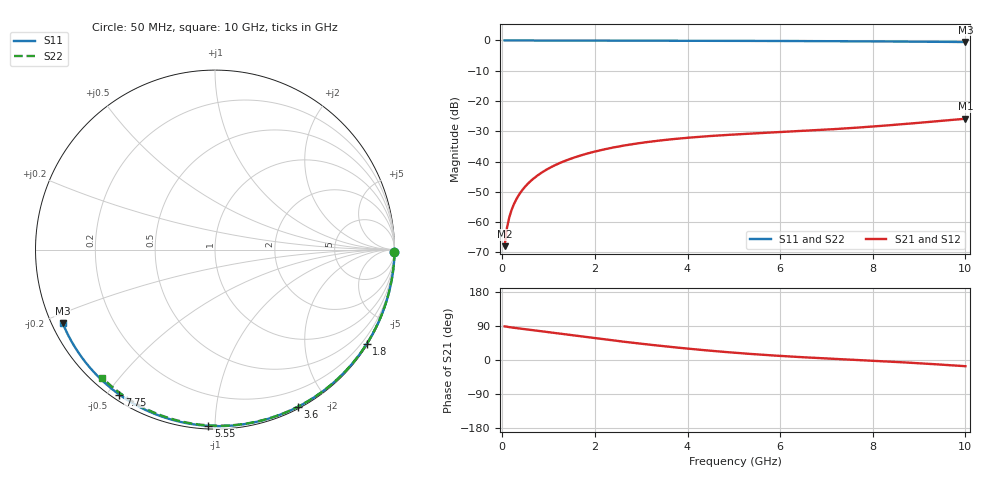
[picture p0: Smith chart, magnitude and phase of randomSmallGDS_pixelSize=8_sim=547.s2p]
! freq	dB(S11)	phase(S11)	dB(S12)	phase(S12)
!  dB(S21)	phase(S21)	dB(S22)	phase(S22)
!S-par simulation data
#  GHz  S  DB  R 50
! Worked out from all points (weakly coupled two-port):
!   200 points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, 50 MHz to 10 GHz, reference 50 ohm
!   highest |S21| = -25.84 dB at 10 GHz (marker M1); lowest = -67.9 dB at 50 MHz (marker M2)
!   lowest |S11| = -0.5 dB at 10 GHz (marker M3), VSWR 33.75, Z = 1.56 - j11.4 ohm
!   |S11| at or under -10 dB: nowhere
!   |S22| runs from -0.4 to 0.0 dB; largest |S21 - S12| = 0
!   S11 on the Smith chart (normalised r, x): 50 MHz: open; 1.8 GHz: 0.03, -3.49; 3.6 GHz: 0.02, -1.66; 5.55 GHz: 0.02, -0.96; 7.75 GHz: 0.02, -0.54; 10 GHz: 0.03, -0.23
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0.05  -0.00 -0.9  -67.91 88.8  -67.91 88.8  -0.00 -0.8
0.1  -0.00 -1.8  -61.93 87.7  -61.93 87.7  -0.00 -1.5
0.15  -0.00 -2.7  -58.44 86.8  -58.44 86.8  -0.00 -2.3
0.2  -0.00 -3.6  -55.98 85.9  -55.98 85.9  -0.00 -3.1
0.35  -0.00 -6.3  -51.20 83.5  -51.20 83.5  -0.00 -5.4
0.5  -0.01 -9.0  -48.15 81.1  -48.15 81.1  -0.01 -7.7
0.7  -0.01 -12.6  -45.27 78.0  -45.27 78.0  -0.01 -10.7
1  -0.02 -17.9  -42.26 73.2  -42.26 73.2  -0.02 -15.3
1.35  -0.03 -24.1  -39.78 67.6  -39.78 67.6  -0.03 -20.5
1.75  -0.04 -31.1  -37.70 61.3  -37.70 61.3  -0.03 -26.5
1.8  -0.04 -32.0  -37.48 60.6  -37.48 60.6  -0.04 -27.2
2.5  -0.06 -43.9  -35.04 50.0  -35.04 50.0  -0.05 -37.5
3.4  -0.08 -58.9  -33.04 37.6  -33.04 37.6  -0.07 -50.4
3.6  -0.09 -62.1  -32.71 35.0  -32.71 35.0  -0.07 -53.2
4.3  -0.11 -73.2  -31.76 26.6  -31.76 26.6  -0.09 -62.8
5.05  -0.13 -84.7  -31.01 18.9  -31.01 18.9  -0.11 -72.7
5.55  -0.15 -92.2  -30.60 14.4  -30.60 14.4  -0.13 -79.2
6.7  -0.21 -108.7  -29.69 5.9  -29.69 5.9  -0.18 -93.5
7.75  -0.29 -123.4  -28.69 -0.5  -28.69 -0.5  -0.24 -105.9
8.35  -0.34 -131.6  -28.00 -4.2  -28.00 -4.2  -0.29 -112.8
9.2  -0.42 -143.2  -26.92 -10.1  -26.92 -10.1  -0.36 -122.4
10  -0.51 -154.3  -25.84 -16.4  -25.84 -16.4  -0.44 -131.3
